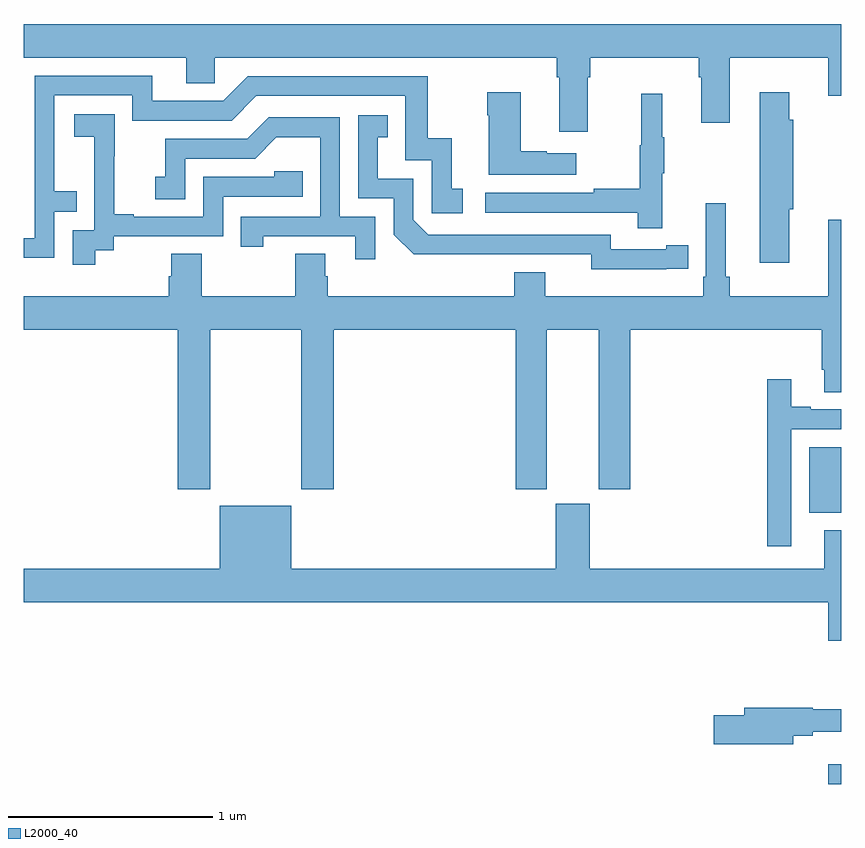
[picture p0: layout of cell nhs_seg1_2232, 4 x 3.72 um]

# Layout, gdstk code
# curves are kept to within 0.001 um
import gdstk
lib = gdstk.Library(unit=1e-6, precision=1e-09)
def R(c, l, rs):  # rectangles x0, y0, x1, y1
    for r in rs: c.add(gdstk.rectangle(r[:2], r[2:], *l))
def P(c, l, *ps):  # polygons
    for p in ps: c.add(gdstk.Polygon(p, *l))
L2000_40 = (2000, 40)

nhs_seg1_2232 = lib.new_cell('nhs_seg1_2232')
R(nhs_seg1_2232, L2000_40, [(236.936,528.199,237,528.295), (236.843,529.526,237,529.846)])
P(nhs_seg1_2232, L2000_40, [(235.759,531.656),(235.772,531.656),(235.772,531.752),(236.303,531.752),(236.303,531.656),(236.315,531.656),(236.315,531.432),(236.455,531.432),(236.455,531.752),(236.936,531.752),(236.936,531.564),(237,531.564),(237,531.916),(233,531.916),(233,531.752),(233.795,531.752),(233.795,531.625),(233.934,531.625),(233.934,531.752),(235.607,531.752),(235.607,531.656),(235.619,531.656),(235.619,531.39),(235.759,531.39)],
  [(233.151,530.997),(233.261,530.997),(233.261,531.098),(233.151,531.098),(233.151,531.567),(233.532,531.567),(233.532,531.444),(234.018,531.444),(234.138,531.564),(234.867,531.564),(234.867,531.249),(234.996,531.249),(234.996,530.991),(235.147,530.991),(235.147,531.111),(235.094,531.111),(235.094,531.358),(234.976,531.358),(234.976,531.66),(234.096,531.66),(233.976,531.54),(233.629,531.54),(233.629,531.663),(233.055,531.663),(233.055,530.868),(233,530.868),(233,530.772),(233.151,530.772)],
  [(235.702,531.283),(235.559,531.283),(235.559,531.293),(235.432,531.293),(235.432,531.583),(235.267,531.583),(235.267,531.47),(235.274,531.47),(235.274,531.179),(235.702,531.179)],
  [(236.746,531.011),(236.764,531.011),(236.764,531.447),(236.746,531.447),(236.746,531.583),(236.6,531.583),(236.6,530.748),(236.746,530.748)],
  [(236.123,531.187),(236.134,531.187),(236.134,531.361),(236.123,531.361),(236.123,531.574),(236.02,531.574),(236.02,531.324),(236.013,531.324),(236.013,531.11),(235.789,531.11),(235.789,531.09),(235.257,531.09),(235.257,530.994),(236.005,530.994),(236.005,530.916),(236.123,530.916)],
  [(233.35,530.809),(233.442,530.809),(233.442,530.877),(233.976,530.877),(233.976,531.072),(234.365,531.072),(234.365,531.195),(234.225,531.195),(234.225,531.168),(233.88,531.168),(233.88,530.973),(233.539,530.973),(233.539,530.986),(233.444,530.986),(233.444,531.269),(233.445,531.269),(233.445,531.475),(233.247,531.475),(233.247,531.365),(233.345,531.365),(233.345,531.137),(233.346,531.137),(233.346,530.907),(233.241,530.907),(233.241,530.739),(233.35,530.739)],
  [(236.144,530.718),(236.252,530.718),(236.252,530.834),(236.144,530.834),(236.144,530.814),(235.872,530.814),(235.872,530.886),(234.978,530.886),(234.906,530.958),(234.906,531.159),(234.733,531.159),(234.733,531.363),(234.782,531.363),(234.782,531.469),(234.636,531.469),(234.636,531.063),(234.81,531.063),(234.81,530.886),(234.908,530.789),(235.776,530.79),(235.776,530.717)],
  [(234.72,530.973),(234.546,530.973),(234.546,531.459),(234.2,531.459),(234.095,531.354),(233.692,531.354),(233.692,531.169),(233.643,531.169),(233.643,531.06),(233.79,531.06),(233.79,531.258),(234.132,531.258),(234.236,531.362),(234.45,531.362),(234.45,530.973),(234.061,530.973),(234.061,530.826),(234.172,530.826),(234.172,530.877),(234.623,530.877),(234.623,530.766),(234.72,530.766)],
  [(233.913,530.42),(234.358,530.42),(234.358,529.641),(234.518,529.641),(234.518,530.42),(235.406,530.42),(235.406,529.641),(235.558,529.641),(235.558,530.42),(235.814,530.42),(235.814,529.641),(235.967,529.641),(235.967,530.42),(236.903,530.42),(236.903,530.224),(236.915,530.224),(236.915,530.116),(237,530.116),(237,530.959),(236.936,530.959),(236.936,530.584),(236.453,530.584),(236.453,530.68),(236.434,530.68),(236.434,531.04),(236.337,531.04),(236.337,530.68),(236.324,530.68),(236.324,530.584),(235.552,530.584),(235.552,530.701),(235.4,530.701),(235.4,530.584),(234.488,530.584),(234.488,530.682),(234.475,530.682),(234.475,530.792),(234.328,530.792),(234.328,530.584),(233.871,530.584),(233.871,530.792),(233.723,530.792),(233.723,530.682),(233.711,530.682),(233.711,530.584),(233,530.584),(233,530.42),(233.753,530.42),(233.753,529.641),(233.913,529.641)],
  [(236.754,529.935),(237,529.935),(237,530.031),(236.851,530.031),(236.851,530.044),(236.755,530.044),(236.755,530.179),(236.638,530.179),(236.638,529.362),(236.754,529.362)],
  [(237,529.441),(236.915,529.441),(236.915,529.252),(235.768,529.252),(235.768,529.569),(235.604,529.569),(235.604,529.252),(234.31,529.252),(234.31,529.561),(233.96,529.561),(233.96,529.252),(233,529.252),(233,529.088),(236.936,529.088),(236.936,528.9),(237,528.9)],
  [(236.764,528.436),(236.86,528.436),(236.86,528.455),(237,528.455),(237,528.565),(236.86,528.565),(236.86,528.572),(236.525,528.572),(236.525,528.536),(236.376,528.536),(236.376,528.394),(236.764,528.394)])

lib.write_gds('nhs_seg1_2232.gds')
